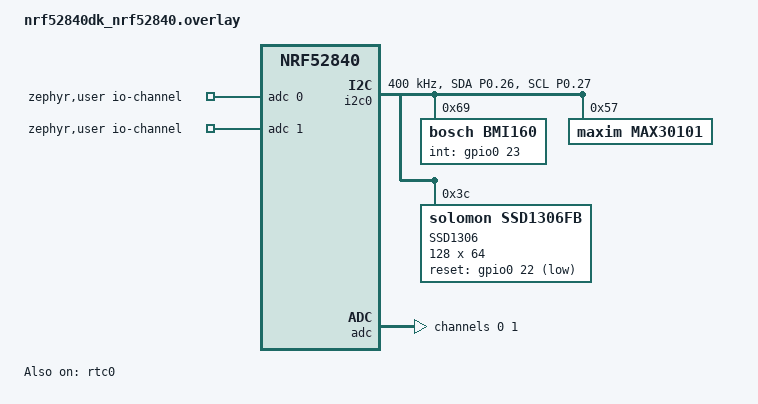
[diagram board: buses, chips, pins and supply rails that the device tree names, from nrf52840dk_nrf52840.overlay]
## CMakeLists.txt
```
cmake_minimum_required(VERSION 3.20.0)
set(SHIELD ssd1306_128x64)

set(BOARD_ROOT ${CMAKE_CURRENT_SOURCE_DIR})
set(CONF_FILE prj.conf)
set(CONFIG_BOOTLOADER_MCUBOOT y)




find_package(Zephyr REQUIRED HINTS $ENV{ZEPHYR_BASE})
project(LGVL4)
include_directories(
    include
)

FILE(GLOB app_sources src/*.c)
target_sources(app PRIVATE ${app_sources})
target_sources(app PRIVATE
    src/bluetooth/ble_hrs.c
    src/bluetooth/ble_nus.c
    src/bluetooth/ble_service.c
)
target_sources(app PRIVATE src/watchdog.c)
```

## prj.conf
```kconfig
# MCUboot podrška
CONFIG_BOOTLOADER_MCUBOOT=y
CONFIG_MCUBOOT_IMG_MANAGER=y
CONFIG_IMG_MANAGER=y
CONFIG_NCS_SAMPLE_MCUMGR_BT_OTA_DFU=y

# Flash i podešavanja
CONFIG_FLASH=y
CONFIG_FLASH_MAP=y
CONFIG_NVS=y
CONFIG_SETTINGS=y
CONFIG_SETTINGS_NVS=y

# LVGL i prikaz
CONFIG_DISPLAY=y
CONFIG_DISPLAY_LOG_LEVEL_ERR=y
CONFIG_LVGL=y
CONFIG_LV_USE_LOG=y
CONFIG_LV_USE_LABEL=y
CONFIG_LV_USE_BTN=y
CONFIG_LV_USE_IMG=y
CONFIG_LV_USE_FLEX=y
CONFIG_LV_USE_GRID=y
CONFIG_LV_FONT_MONTSERRAT_12=y
CONFIG_LV_FONT_MONTSERRAT_14=y
CONFIG_LV_FONT_MONTSERRAT_16=y
CONFIG_LV_FONT_MONTSERRAT_20=y
CONFIG_LV_FONT_MONTSERRAT_22=y
CONFIG_LV_FONT_MONTSERRAT_24=y
CONFIG_LV_MEM_CUSTOM=y
CONFIG_LV_Z_MEM_POOL_SIZE=8192

# Bluetooth
CONFIG_BT=y
CONFIG_BT_PERIPHERAL=y
CONFIG_BT_DEVICE_NAME="nRF_Device"
CONFIG_BT_DEVICE_APPEARANCE=0
CONFIG_BT_CTS=y
CONFIG_BT_NUS=y
CONFIG_BT_HRS=y

# Senzori i I2C/SPI
CONFIG_I2C=y
CONFIG_SPI=y
CONFIG_SENSOR=y
CONFIG_BMI160=y
CONFIG_GPIO=y
CONFIG_INPUT=y
CONFIG_ADC=y


# Sat, vremenska podrška
CONFIG_COUNTER=y
CONFIG_RTC=y

# Clock i napajanje
CONFIG_CLOCK_CONTROL=y
CONFIG_CLOCK_CONTROL_NRF=y
CONFIG_CLOCK_CONTROL_NRF_K32SRC_RC=y
CONFIG_CLOCK_CONTROL_NRF_K32SRC_500PPM=y
CONFIG_PM=y

# Sistemski moduli
CONFIG_REBOOT=y
CONFIG_WATCHDOG=y
CONFIG_NEWLIB_LIBC=y
CONFIG_NEWLIB_LIBC_FLOAT_PRINTF=y
CONFIG_POSIX_API=y

# Stack/memorija
CONFIG_MAIN_STACK_SIZE=4096
CONFIG_HEAP_MEM_POOL_SIZE=8192
```

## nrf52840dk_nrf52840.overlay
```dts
/ {
    compatible = "nordic,nrf52840-dk-nrf52840";

    chosen {
        zephyr,display = &ssd1306;
        zephyr,rtc = &rtc0;
    };

    aliases {
        max30101 = &max30101;
        bmi160 = &bmi160;
    };

    zephyr,user {
        io-channels = <&adc 0>, <&adc 1>;
    };
};

&i2c0 {
    status = "okay";
    pinctrl-0 = <&i2c0_default>;
    pinctrl-1 = <&i2c0_sleep>;
    pinctrl-names = "default", "sleep";
    clock-frequency = <I2C_BITRATE_FAST>;

    /* BMI160 IMU */
    bmi160: bmi160@69 {
        compatible = "bosch,bmi160";
        reg = <0x69>;
        label = "BMI160";
        int-gpios = <&gpio0 23 GPIO_ACTIVE_HIGH>;  /* Proverite tačan pin na vašoj ploči */
    };

    /* MAX30101 Pulse Oximeter */
    max30101: max30101@57 {
        compatible = "maxim,max30101";
        reg = <0x57>;
        label = "MAX30101";
        // int-gpios = <&gpio0 24 GPIO_ACTIVE_HIGH>;
    };

    /* SSD1306 OLED Display */
    ssd1306: ssd1306@3c {
        compatible = "solomon,ssd1306fb";
        reg = <0x3c>;
        label = "SSD1306";
        width = <128>;
        height = <64>;
        segment-offset = <0>;
        page-offset = <0>;
        display-offset = <0>;
        multiplex-ratio = <63>;
        segment-remap;
        com-invdir;
        prechargep = <0x22>;
        reset-gpios = <&gpio0 22 GPIO_ACTIVE_LOW>;
    };
};

&pinctrl {
    i2c0_default: i2c0_default {
        group1 {
            psels = <NRF_PSEL(TWIM_SDA, 0, 26)>,
                    <NRF_PSEL(TWIM_SCL, 0, 27)>;
            bias-pull-up;
        };
    };

    i2c0_sleep: i2c0_sleep {
        group1 {
            psels = <NRF_PSEL(TWIM_SDA, 0, 26)>,
                    <NRF_PSEL(TWIM_SCL, 0, 27)>;
            low-power-enable;
        };
    };
};

&rtc0 {
    status = "okay";
    compatible = "nordic,nrf-rtc";
    clock-frequency = <32768>;
};

&adc {
    #address-cells = <1>;
    #size-cells = <0>;

    channel@0 {
        reg = <0>;
        zephyr,gain = "ADC_GAIN_1_6";
        zephyr,reference = "ADC_REF_INTERNAL";
        zephyr,acquisition-time = <ADC_ACQ_TIME_DEFAULT>;
        zephyr,input-positive = <NRF_SAADC_AIN7>; /* P0.03 */
        zephyr,resolution = <12>;
    };

    channel@1 {
        reg = <1>;
        zephyr,gain = "ADC_GAIN_1_6";
        zephyr,reference = "ADC_REF_INTERNAL";
        zephyr,acquisition-time = <ADC_ACQ_TIME_DEFAULT>;
        zephyr,input-positive = <NRF_SAADC_AIN5>; /* P0.04 */
        zephyr,resolution = <12>;
    };
};
```

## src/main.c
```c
#include <stdio.h>
#include <string.h>
#include <time.h>
#include <nrfx_saadc.h>

#include <zephyr/kernel.h>
#include <zephyr/device.h>
#include <zephyr/devicetree.h>
#include <zephyr/drivers/sensor.h>
#include <zephyr/drivers/display.h>
#include <zephyr/sys/printk.h>
#include <zephyr/sys/reboot.h>
#include <zephyr/bluetooth/bluetooth.h>
#include <zephyr/bluetooth/hci.h>

#include "max30101.h"
#include "bmi160.h"
#include "rtc_driver.h"
#include "lcd_display.h"
#include "ble_service.h"
#include "ble_nus.h"
#include "ble_hrs.h"
#include "watchdog.h"
#include "battery_monitor.h"

// ---------------------------------
// Konstante i globalne promenljive
// ---------------------------------
#define BUFFER_SIZE 500

static uint32_t ir_buffer[BUFFER_SIZE];
static int buffer_index = 0;

char *received_data_from_bluetooth;
bool value_nrf_connect = false;
bool value_nrf_connect2 = false;

// ------------------------------
// Definisanje thread stack-ova
// ------------------------------
K_THREAD_STACK_DEFINE(max30101_thread_stack, 5000);
K_THREAD_STACK_DEFINE(bmi160_thread_stack, 5000);
K_THREAD_STACK_DEFINE(display_thread_stack, 4096);
K_THREAD_STACK_DEFINE(bluetooth_thread_stack, 4096);

static struct k_thread max30101_thread_data;
static struct k_thread bmi160_thread_data;
static struct k_thread display_thread_data;
static struct k_thread bluetooth_thread_data;

// ------------------------------
// Definisanje message queue-ova
// ------------------------------
K_MSGQ_DEFINE(hr_msgq, sizeof(int), 10, 4);

struct step_data {
    uint16_t steps;
    struct sensor_value accel[3];
};
K_MSGQ_DEFINE(step_msgq, sizeof(struct step_data), 10, 4);

struct display_data {
    uint32_t hr;
    uint32_t steps;
};
K_MSGQ_DEFINE(display_msgq, sizeof(struct display_data), 10, 4);

struct bluetooth_data {
    uint32_t hr;
    uint32_t steps;
};
K_MSGQ_DEFINE(bluetooth_msgq, sizeof(struct bluetooth_data), 10, 4);

// ------------------------------
// Prototipovi funkcija
// ------------------------------
void max30101_thread(void *arg1, void *arg2, void *arg3);
void bmi160_thread(void *arg1, void *arg2, void *arg3);
void display_thread(void *arg1, void *arg2, void *arg3);
void bluetooth_thread(void *arg1, void *arg2, void *arg3);

// ------------------------------
// Obrada BLE primljenih podataka
// ------------------------------
void handle_received_data(const char *data)
{
    printk("App received: %s\n", data);
    received_data_from_bluetooth = data;
    value_nrf_connect = true;
    value_nrf_connect2 = true;
}


void main(void) 
{
    received_data_from_bluetooth = "";  // Inicijalizacija na prazan string
    char* last_command = "5";

    // ----------------------
    // Inicijalizacija sistema
    // ----------------------
    ble_init(handle_received_data);

    if (rtc_init() != 0) {
        return;
    }

    printk("RTC initialized: %s\n", received_data_from_bluetooth);
    rtc_set_initial_time(received_data_from_bluetooth);

    if (ble_hrs_init() != 0) {
        printk("Failed to initialize BLE HRS!\n");
    }

    printk("MAX30101 Heart Rate Monitor with BMI160\n");

    const struct device *i2c_dev = DEVICE_DT_GET(DT_NODELABEL(i2c0));
    if (!device_is_ready(i2c_dev)) {
        printk("I2C for MAX not ready!\n");
        return;
    }

    if (max30101_init(i2c_dev) != 0) {
        printk("Sensor init failed!\n");
        return;
    }

    watchdog_init();
    battery_monitor_init();

    

    // ----------------------
    // Kreiranje thread-ova
    // ----------------------
    k_thread_create(&max30101_thread_data, max30101_thread_stack,
                    K_THREAD_STACK_SIZEOF(max30101_thread_stack),
                    max30101_thread,
                    NULL, NULL, NULL,
                    5, 0, K_NO_WAIT);

    k_thread_create(&bmi160_thread_data, bmi160_thread_stack,
                    K_THREAD_STACK_SIZEOF(bmi160_thread_stack),
                    bmi160_thread,
                    NULL, NULL, NULL,
                    5, 0, K_NO_WAIT);

    k_thread_create(&display_thread_data, display_thread_stack,
                    K_THREAD_STACK_SIZEOF(display_thread_stack),
                    display_thread,
                    NULL, NULL, NULL,
                    4, 0, K_NO_WAIT);  // Prioritet viši od senzora

    k_thread_create(&bluetooth_thread_data, bluetooth_thread_stack,
                    K_THREAD_STACK_SIZEOF(bluetooth_thread_stack),
                    bluetooth_thread,
                    NULL, NULL, NULL,
                    3, 0, K_NO_WAIT);  // Manji prioritet od display, ali veći od senzora

    // ----------------------
    // Glavna petlja
    // ----------------------
    while (1) {
        battery_monitor_process();
        // printk("received_data_from_bluetooth: %s\n", received_data_from_bluetooth);

        if (strlen(received_data_from_bluetooth) > 0 && strcmp(received_data_from_bluetooth, last_command) != 0) {
            printk("Primljena Bluetooth komanda: %s\n", received_data_from_bluetooth);

            if (strcmp(received_data_from_bluetooth, "reset") == 0) {
                printk("Reset komanda primljena - pokrećem reset\n");
                reset();
            } 
            else if (strcmp(received_data_from_bluetooth, "resetstep") == 0) {
                printk("Resetovanje brojača koraka\n");
                int ret = bmi160_reset_step_counter();
                if (ret == 0) {
                    printk("Brojač koraka uspešno resetovan\n");
                } else {
                    printk("Greška pri resetovanju brojača koraka: %d\n", ret);
                }
                received_data_from_bluetooth = "";
            } 
            else if (strncmp(received_data_from_bluetooth, "displaytime:", 12) == 0) {
                printk("Komanda za promenu vremena prikaza\n");
                change_display_view(received_data_from_bluetooth);
                received_data_from_bluetooth = "";
            } 
            else if (
                strcmp(received_data_from_bluetooth, "steps") == 0 ||
                strcmp(received_data_from_bluetooth, "time") == 0 ||
                strcmp(received_data_from_bluetooth, "hr") == 0 ||
                strcmp(received_data_from_bluetooth, "slider") == 0
            ) {
                if(value_nrf_connect2 == true) {
                    value_nrf_connect2 = false;
                    printk("Primljena komanda za promenu prikaza: %s\n", received_data_from_bluetooth);
                    set_display_view(received_data_from_bluetooth);
                    received_data_from_bluetooth = "";

                }
            } 
            else if (value_nrf_connect == true) {
                rtc_set_initial_time(received_data_from_bluetooth);
                value_nrf_connect = false;
                received_data_from_bluetooth = "Cekam komandu";
            } 
            else if (strcmp(received_data_from_bluetooth, "Cekam komandu") == 0) {
                printk("Cekam komandu\n");
            } 
            else {
                printk("Nepoznata komanda: %s\n", received_data_from_bluetooth);
                received_data_from_bluetooth = "";
            }
            for(int i = 0; i < strlen(received_data_from_bluetooth); i++) {
                last_command[i] = received_data_from_bluetooth[i];
            }
        }

        

        // Ako je primljeno vreme putem BLE
        

        int heart_rate;
        struct step_data step_data;
        struct display_data display_data = {0};
        struct bluetooth_data bt_data = {0};

        // Čitanje iz poruka
        if (k_msgq_get(&hr_msgq, &heart_rate, K_NO_WAIT) == 0) {
            printk("HR: %d bpm\n", heart_rate);
            display_data.hr = heart_rate;
            bt_data.hr = heart_rate;
        }

        if (k_msgq_get(&step_msgq, &step_data, K_NO_WAIT) == 0) {
            printk("Steps: %u\n", step_data.steps);
            display_data.steps = step_data.steps;
            bt_data.steps = step_data.steps;
        }

        // Slanje podataka ka display-u i BLE-u
        if (display_data.hr != 0 || display_data.steps != 0) {
            k_msgq_put(&display_msgq, &display_data, K_NO_WAIT);
            k_msgq_put(&bluetooth_msgq, &bt_data, K_NO_WAIT);
        }

        k_sleep(K_MSEC(100));
    }
}











void max30101_thread(void *arg1, void *arg2, void *arg3)
{
    ARG_UNUSED(arg1);
    ARG_UNUSED(arg2);
    ARG_UNUSED(arg3);

    #define HR_HISTORY_SIZE 10
    static uint16_t hr_history[HR_HISTORY_SIZE];
    static uint8_t hr_index = 0;
    static bool hr_history_full = false;
    static uint16_t avg_hr = 0;

    while (1) {
        uint32_t ir;
        if (max30101_read_ir_sample(&ir) == 0) {
            ir_buffer[buffer_index++] = ir;

            if (buffer_index >= BUFFER_SIZE) {
                int delta = count_peaks(ir_buffer, BUFFER_SIZE);
                int heart_rate = 0;

                if (delta <= 0) {
                    printk("Finger removed\n");

                } else {
                    heart_rate = (60 * 100) / delta;
                    
                    if(heart_rate > 40 && heart_rate < 200) {  // Valid HR range
                        // Store HR in history
                        hr_history[hr_index++] = heart_rate;
                        
                        // Check if history is full
                        if (hr_index >= HR_HISTORY_SIZE) {
                            hr_index = 0;
                            hr_history_full = true;
                        }
                        
                        // Calculate average HR
                        if (hr_history_full) {
                            uint16_t temp_array[HR_HISTORY_SIZE];
                            memcpy(temp_array, hr_history, sizeof(hr_history));
                            
                            // Sort the array to easily find min/max values
                            for (int i = 0; i < HR_HISTORY_SIZE-1; i++) {
                                for (int j = i+1; j < HR_HISTORY_SIZE; j++) {
                                    if (temp_array[i] > temp_array[j]) {
                                        uint16_t temp = temp_array[i];
                                        temp_array[i] = temp_array[j];
                                        temp_array[j] = temp;
                                    }
                                }
                            }
                            uint32_t sum = 0;
                            for (int i = 0; i < HR_HISTORY_SIZE; i++) {
                                sum += hr_history[i];
                            }
                            avg_hr = sum / HR_HISTORY_SIZE;
                            
                            // Send both current and average HR
                            struct hr_data {
                                uint16_t current_hr;
                                uint16_t average_hr;
                            } hr_msg;
                            
                            hr_msg.current_hr = heart_rate;
                            hr_msg.average_hr = avg_hr;
                            
                            k_msgq_put(&hr_msgq, &hr_msg.average_hr, K_NO_WAIT);
                            
                            printk("HR: %d (avg: %d)\n", heart_rate, avg_hr);
                        } else {
                            // Send only current HR until we have enough samples
                            struct hr_data {
                                uint16_t current_hr;
                                uint16_t average_hr;
                            } hr_msg;
                            
                            hr_msg.current_hr = heart_rate;
                            hr_msg.average_hr = 0;  // Not available yet
                            
                            k_msgq_put(&hr_msgq, &hr_msg.current_hr, K_NO_WAIT);
                            
                            printk("HR: %d (collecting samples)\n", heart_rate);
                        }
                    }
                }
                buffer_index = 0;
            }
        }
        k_sleep(K_MSEC(10));
    }
}





void bmi160_thread(void *arg1, void *arg2, void *arg3)
{
    ARG_UNUSED(arg1);
    ARG_UNUSED(arg2);
    ARG_UNUSED(arg3);
    
    const struct device *sensor = DEVICE_DT_GET_ONE(bosch_bmi160);
    if (!device_is_ready(sensor)) {
        printk("BMI160 device not ready\n");
        return;
    }

    if (bmi160_enable_step_counter() != 0) {
        printk("Failed to enable step counter\n");
        return;
    }

    while (1) {
        uint16_t steps = 0;
        struct sensor_value accel[3];
        struct step_data step_data;

        if (sensor_sample_fetch(sensor) == 0) {
            if (sensor_channel_get(sensor, SENSOR_CHAN_ACCEL_XYZ, accel) == 0) {
                if (bmi160_read_step_count(&steps) == 0) {
                    step_data.steps = steps;
                    memcpy(step_data.accel, accel, sizeof(accel));
                    k_msgq_put(&step_msgq, &step_data, K_NO_WAIT);
                }
            }
        }
        k_sleep(K_MSEC(1000));
    }
}

void display_thread(void *arg1, void *arg2, void *arg3)
{
    ARG_UNUSED(arg1);
    ARG_UNUSED(arg2);
    ARG_UNUSED(arg3);

    // Initialize display
    init_lcd_display();
    
    struct display_data data = {0};
    
    while (1) {
        // Get new data from queue with timeout
        if (k_msgq_get(&display_msgq, &data, K_MSEC(100)) == 0) {
            update_lcd_display(data.hr, data.steps);
        }
        
        // Always refresh the display periodically
        lv_task_handler();
        k_sleep(K_MSEC(50));  // Refresh at ~20Hz
    }
}

void bluetooth_thread(void *arg1, void *arg2, void *arg3)
{
    ARG_UNUSED(arg1);
    ARG_UNUSED(arg2);
    ARG_UNUSED(arg3);

    struct bluetooth_data data;
    static uint32_t last_hr = 0;
    static uint32_t last_steps = 0;

    while (1) {
        if (k_msgq_get(&bluetooth_msgq, &data, K_MSEC(100)) == 0) {
            // Only send data if it has changed
            if (data.hr != last_hr || data.steps != last_steps) {
                ble_nus_send_data(data.hr, data.steps);
                ble_hrs_update(data.hr);
                last_hr = data.hr;
                last_steps = data.steps;
            }
        }
        k_sleep(K_MSEC(100));
    }
}
```

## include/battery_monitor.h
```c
#ifndef BATTERY_MONITOR_H
#define BATTERY_MONITOR_H

#include <stdint.h>
#include <stdbool.h>



#ifdef __cplusplus
extern "C" {
#endif

/* Battery voltage calculation constants */
#define VOLTAGE_DIVIDER_RATIO 2.0f
#define ADC_REF_VOLTAGE_MV 3600
#define ADC_MAX_VALUE 4095
#define CHARGING_THRESHOLD_MV 1500

/* Battery voltage thresholds */
#define VOLTAGE_FULL 2100
#define VOLTAGE_GOOD 1850
#define VOLTAGE_LOW 1700
#define VOLTAGE_CRITICAL 1650

extern bool is_charging;
extern int percentage;

/* Prototip funkcije za konverziju napona u procenat */
int voltage_to_percent(int battery_mv);

/* Funkcija za inicijalizaciju i merenje */
void battery_monitor_process(void);
void battery_monitor_init(void);



#ifdef __cplusplus
}
#endif

#endif // BATTERY_MONITOR_H
```

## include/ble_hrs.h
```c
#ifndef BLE_HRS_H
#define BLE_HRS_H

#include <zephyr/kernel.h>
#include <zephyr/bluetooth/bluetooth.h>
#include <zephyr/bluetooth/hci.h>
#include <zephyr/bluetooth/conn.h>
#include <zephyr/bluetooth/uuid.h>
#include <zephyr/bluetooth/gatt.h>
#include <zephyr/bluetooth/services/hrs.h>

#ifdef __cplusplus
extern "C" {
#endif

/* Inicijalizacija BLE HRS */
int ble_hrs_init(void);

/* Ažuriraj i pošalji nove podatke o otkucaju srca */
int ble_hrs_update(uint8_t heart_rate);

/* Callback za BLE vezu */
void ble_hrs_on_connect(struct bt_conn *conn, uint8_t err);
void ble_hrs_on_disconnect(struct bt_conn *conn, uint8_t reason);

#ifdef __cplusplus
}
#endif

#endif /* BLE_HRS_H */
```

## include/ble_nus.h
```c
#ifndef BLE_NUS_H
#define BLE_NUS_H

#include <zephyr/kernel.h>
#include <zephyr/bluetooth/bluetooth.h>
#include <zephyr/bluetooth/hci.h>
#include <bluetooth/services/nus.h>

#ifdef __cplusplus
extern "C" {
#endif

/* Callback for when Bluetooth is initialized */
void bt_ready(int err);

/* Connection callback functions */
void connected(struct bt_conn *conn, uint8_t err);
void disconnected(struct bt_conn *conn, uint8_t reason);

/* Initialize BLE NUS service */
int ble_nus_init(void);

/* Send heart rate and steps data over BLE */
int ble_nus_send_data(int heart_rate, uint32_t steps);

#ifdef __cplusplus
}
#endif

#endif /* BLE_NUS_H */
```

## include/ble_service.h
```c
#ifndef BLE_SERVICE_H
#define BLE_SERVICE_H

#include <zephyr/types.h>

void ble_init(void (*callback)(const char *));
void ble_send_data(int heart_rate, uint32_t steps);
void ble_send_string(const char *message);
#endif // BLE_SERVICE_H
```

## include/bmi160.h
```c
#ifndef BMI160_H_
#define BMI160_H_

#include <zephyr/kernel.h>
#include <zephyr/device.h>
#include <zephyr/drivers/i2c.h>

#define BMI160_I2C_ADDR 0x69
// extern const struct device *i2c_dev;


int bmi160_enable_step_counter(void);
int bmi160_read_step_count(uint16_t *steps);
int bmi160_reset_step_counter(void);

#endif // BMI160_H_
```

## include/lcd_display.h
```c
#ifndef LCD_DISPLAY_H
#define LCD_DISPLAY_H

#include <lvgl.h>

// Display views
typedef enum {
    DISPLAY_HR,
    DISPLAY_STEPS,
    DISPLAY_TIME,
    DISPLAY_COUNT,
    DISPLAY_ALL
} display_view_t;

// External variables
extern lv_obj_t *hr_label;
extern lv_obj_t *steps_label;
extern lv_obj_t *time_label;
extern lv_obj_t *bt_label;
extern lv_obj_t *hr_icon;
extern lv_obj_t *steps_icon;

extern int display_timer_period;
extern lv_timer_t *display_timer;
extern display_view_t current_view;

// Function declarations
void init_lcd_display(void);
void update_lcd_display(uint32_t hr, uint32_t steps);
void reset(void);
void change_display_view(char *message);
void charging_view(void);

// Two versions of switch_display_view:
void switch_display_view(lv_timer_t *timer); // For timer callback
void set_display_view(const char *command);  // For command-based control


#endif // LCD_DISPLAY_H
```

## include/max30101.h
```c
#ifndef MAX30101_H
#define MAX30101_H

#include <zephyr/kernel.h>
#include <zephyr/device.h>
#include <zephyr/drivers/i2c.h>

#define MAX30101_I2C_ADDR 0x57

// Essential registers
enum {
    REG_INTR_STATUS_1 = 0x00,
    REG_FIFO_WR_PTR = 0x04,
    REG_FIFO_RD_PTR = 0x06,
    REG_FIFO_DATA = 0x07,
    REG_FIFO_CONFIG = 0x08,
    REG_MODE_CONFIG = 0x09,
    REG_SPO2_CONFIG = 0x0A,
    REG_LED1_PA = 0x0C,
    REG_LED2_PA = 0x0D,
    REG_MULTI_LED_CTRL1 = 0x11,
    REG_REV_ID = 0xFE,
    REG_PART_ID = 0xFF
};

// Configuration constants
#define FIFO_ALMOST_FULL  0x0F
#define SPO2_MODE         0x03
#define SAMPLE_RATE_100HZ 0x07
#define LED_PULSE_WIDTH_16BIT 0x03
#define LED_CURRENT_37MA  0x24

#define BUFFER_SIZE 500

// Function prototypes
int max30101_init(const struct device *i2c_dev);
int max30101_read_ir_sample(uint32_t *ir);
int count_peaks(uint32_t *samples, int count);

#endif // MAX30101_H
```

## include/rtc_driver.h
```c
#ifndef RTC_DRIVER_H
#define RTC_DRIVER_H

#include <zephyr/kernel.h>
#include <zephyr/device.h>
#include <zephyr/drivers/counter.h>
#include <lvgl.h>

/* Initialize RTC hardware */
int rtc_init(void);

/* Set initial time in RTC */
void rtc_set_initial_time(const char *data);

/* Get current time and update LVGL label */
void rtc_update_time_label(lv_obj_t *time_label);

#endif /* RTC_DRIVER_H */
```

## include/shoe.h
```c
#ifndef SHOE
#define SHOE

#include <lvgl.h>

#ifdef __cplusplus
extern "C" {
#endif

extern const lv_img_dsc_t icons8_shoe_print_30;

#ifdef __cplusplus
} /* extern "C" */
#endif

#endif // SPRITE_HEART_H
```

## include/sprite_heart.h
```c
#ifndef SPRITE_HEART_H
#define SPRITE_HEART_H

#include <lvgl.h>

#ifdef __cplusplus
extern "C" {
#endif

extern const lv_img_dsc_t Sprite_heart;

#ifdef __cplusplus
} /* extern "C" */
#endif

#endif // SPRITE_HEART_H
```

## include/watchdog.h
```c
#ifndef WATCHDOG_H
#define WATCHDOG_H

void watchdog_init(void);

#endif // WATCHDOG_H
```

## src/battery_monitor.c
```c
#include "battery_monitor.h"

#include <stdbool.h>
#include <inttypes.h>
#include <stddef.h>
#include <zephyr/kernel.h>
#include <zephyr/sys/printk.h>
#include <zephyr/drivers/adc.h>
#include <zephyr/devicetree.h>
#include <zephyr/device.h>
#include <zephyr/sys/util.h>

#if !DT_NODE_EXISTS(DT_PATH(zephyr_user)) || \
    !DT_NODE_HAS_PROP(DT_PATH(zephyr_user), io_channels)
#error "No suitable devicetree overlay specified"
#endif

#define DT_SPEC_AND_COMMA(node_id, prop, idx) \
    ADC_DT_SPEC_GET_BY_IDX(node_id, idx),

/* ADC kanali iz devicetree-ja */
static const struct adc_dt_spec adc_channels[] = {
    DT_FOREACH_PROP_ELEM(DT_PATH(zephyr_user), io_channels, DT_SPEC_AND_COMMA)
};

bool is_charging = false;
int percentage = 0;


int voltage_to_percent(int battery_mv)
{
    struct {
        float voltage;
        int percent;
    } lut[] = {
        {4200, 100}, {4000, 90}, {3900, 80}, {3800, 70},
        {3700, 60}, {3600, 50}, {3500, 40}, {3400, 30},
        {3300, 20}, {3200, 10}, {3000, 0}
    };

    int size = sizeof(lut) / sizeof(lut[0]);

    if (battery_mv >= lut[0].voltage) return 100;
    if (battery_mv <= lut[size - 1].voltage) return 0;

    for (int i = 0; i < size - 1; i++) {
        if (battery_mv <= lut[i].voltage && battery_mv > lut[i + 1].voltage) {
            float v1 = lut[i].voltage;
            float v2 = lut[i + 1].voltage;
            int p1 = lut[i].percent;
            int p2 = lut[i + 1].percent;

            return p1 + (battery_mv - v1) * (p2 - p1) / (v2 - v1);
        }
    }
    return 0;
}
void battery_monitor_process(void)
{
    static uint32_t count = 0;
    static int32_t last_percentage = 101;  // Pamti poslednji procenat
    int err;
    uint16_t buf;
    struct adc_sequence sequence = {
        .buffer = &buf,
        .buffer_size = sizeof(buf),
    };

    if (!adc_is_ready_dt(&adc_channels[0]) || !adc_is_ready_dt(&adc_channels[1])) {
        printk("ADC controller not ready\n");
        return;
    }

    int32_t battery_raw_sum = 0, battery_raw = 0;
    int32_t battery_mv = 0;
    float battery_voltage = 0.0f;

    for (int i = 0; i < 50; i++) {
        (void)adc_sequence_init_dt(&adc_channels[0], &sequence);
        err = adc_read_dt(&adc_channels[0], &sequence);
        if (err < 0) {
            printk("Battery voltage read error (sample %d): %d\n", i, err);
            continue;
        }
        battery_raw_sum += (int32_t)buf;
    }

    battery_raw = battery_raw_sum / 50;
    battery_mv = (battery_raw * ADC_REF_VOLTAGE_MV) / ADC_MAX_VALUE;
    battery_voltage = (float)battery_mv / 1000.0f * VOLTAGE_DIVIDER_RATIO;

    int32_t current_percentage;

    if (battery_mv >= VOLTAGE_FULL) {
        current_percentage = 100;
    } else if (battery_mv >= VOLTAGE_LOW) {
        current_percentage = voltage_to_percent(battery_mv * VOLTAGE_DIVIDER_RATIO);
    } else if (battery_mv >= CHARGING_THRESHOLD_MV) {
        current_percentage = voltage_to_percent(battery_mv * VOLTAGE_DIVIDER_RATIO);
    } else {
        current_percentage = 0;
    }
       int32_t charging_raw = 0, charging_mv = 0;

    (void)adc_sequence_init_dt(&adc_channels[1], &sequence);
    err = adc_read_dt(&adc_channels[1], &sequence);
    if (err < 0) {
        printk("Charging status read error: %d\n", err);
    } else {
        charging_raw = (int32_t)buf;
        charging_mv = (charging_raw * ADC_REF_VOLTAGE_MV) / ADC_MAX_VALUE;

        is_charging = charging_mv > CHARGING_THRESHOLD_MV;
        printk("Charging status: %s\n", is_charging ? "CHARGING" : "NOT CHARGING");
  
    }

    printk("\n");

    // // Ako je procenat isti kao ranije, ne radi ništa
    // if (current_percentage >= last_percentage && last_percentage != 0) {
    //     return;
    // }
    // if(last_percentage == 0 && current_percentage == 0) {
    //     return;  // Ako je procenat 0, ne radi ništa
    // }

    // Inače, ažuriraj procenat i štampaj podatke
    last_percentage = current_percentage;
    percentage = current_percentage;

    printk("=== Measurement #%u ===\n", count++);
    printk("Battery voltage (avg raw): %" PRId32 " mV\n", battery_mv);
    printk("Avg raw ADC value: %" PRId32 "\n", battery_raw);

    if (current_percentage == 100) {
        printk("Status: Fully charged (100%%)\n");
    } else if (current_percentage > 0) {
        if (battery_mv >= VOLTAGE_LOW) {
            printk("Status: Good (%" PRId32 "%%)\n", current_percentage);
        } else {
            printk("Status: Low (%" PRId32 "%%)\n", current_percentage);
        }
    } else {
        printk("Status: CRITICAL! (0%%)\n");
    }

 
}



void battery_monitor_init(void)
{
    int err;
    for (size_t i = 0U; i < ARRAY_SIZE(adc_channels); i++) {
        if (!adc_is_ready_dt(&adc_channels[i])) {
            printk("ADC controller device %s not ready\n", adc_channels[i].dev->name);
            return;
        }

        err = adc_channel_setup_dt(&adc_channels[i]);
        if (err < 0) {
            printk("Could not setup channel #%d (%d)\n", i, err);
            return;
        }
    }
}
```
